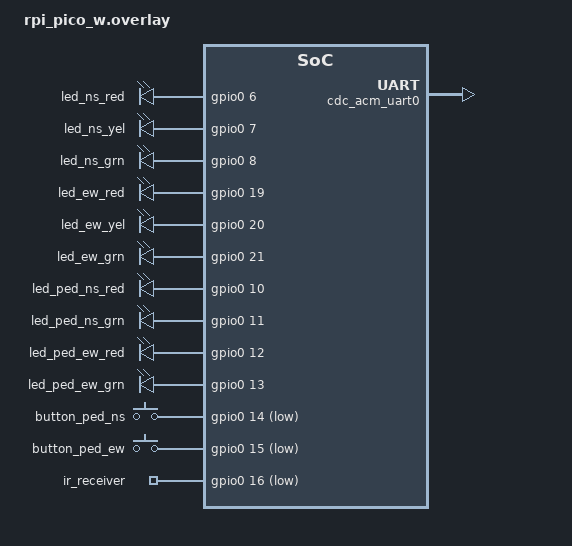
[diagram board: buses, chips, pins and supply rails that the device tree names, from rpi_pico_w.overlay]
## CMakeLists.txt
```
cmake_minimum_required(VERSION 3.20.0)
find_package(Zephyr REQUIRED HINTS $ENV{ZEPHYR_BASE})
project(intersectie_rtos)

target_sources(app PRIVATE src/main.c src/cars_lights_control.c src/pedestrians_lights.c src/emergency.c src/hazard.c src/wifi_manager.c  src/mqtt_manager.c src/telemetry.c)
```

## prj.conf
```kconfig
# Configurare Retea de baza (TCP/IPv4)
CONFIG_NETWORKING=y
CONFIG_NET_IPV4=y
CONFIG_NET_TCP=y
CONFIG_NET_UDP=y

# DHCP si DNS (Esentiale pentru internet)
CONFIG_NET_DHCPV4=y
CONFIG_DNS_RESOLVER=y

# Activare Wi-Fi pentru Raspberry Pi Pico W
CONFIG_WIFI=y
CONFIG_NET_L2_WIFI_MGMT=y
CONFIG_NET_MGMT_EVENT=y

# Activare Biblioteca MQTT oficiala Zephyr
CONFIG_MQTT_LIB=y

# Memorie suplimentara pentru functiile de retea
CONFIG_MAIN_STACK_SIZE=4096
CONFIG_SYSTEM_WORKQUEUE_STACK_SIZE=2048
CONFIG_NET_TX_STACK_SIZE=2048
CONFIG_NET_RX_STACK_SIZE=2048

# Generare numere aleatoare (Necesar pentru securitate retea si DHCP)
CONFIG_ENTROPY_GENERATOR=y
CONFIG_TEST_RANDOM_GENERATOR=y

# Activare mesaje in Consola Seriala
CONFIG_PRINTK=y
CONFIG_LOG=y
CONFIG_LOG_DEFAULT_LEVEL=3


CONFIG_USB_DEVICE_STACK=y
CONFIG_SERIAL=y
CONFIG_CONSOLE=y
CONFIG_UART_CONSOLE=y
CONFIG_UART_LINE_CTRL=y

CONFIG_THREAD_ANALYZER=y
CONFIG_THREAD_ANALYZER_AUTO=y
CONFIG_THREAD_ANALYZER_AUTO_INTERVAL=10
CONFIG_THREAD_NAME=y

CONFIG_LOG_BUFFER_SIZE=4096
```

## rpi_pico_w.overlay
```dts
/ {
    aliases {
        /* Semafoare Auto */
        led-ns-red = &led_ns_red;
        led-ns-yel = &led_ns_yel;
        led-ns-grn = &led_ns_grn;
        led-ew-red = &led_ew_red;
        led-ew-yel = &led_ew_yel;
        led-ew-grn = &led_ew_grn;

        /* Semafoare Pietoni */
        led-ped-ns-red = &led_ped_ns_red;
        led-ped-ns-grn = &led_ped_ns_grn;
        led-ped-ew-red = &led_ped_ew_red;
        led-ped-ew-grn = &led_ped_ew_grn;

        /* Butoane Pietoni */
        sw-ped-ns = &button_ped_ns;
        sw-ped-ew = &button_ped_ew;

        ir-sensor = &ir_receiver;
    };

    leds {
        compatible = "gpio-leds";
        
        /* Auto (ACTIVE_HIGH direct pe module) */
        led_ns_red: led_ns_red { gpios = <&gpio0 6 GPIO_ACTIVE_HIGH>; };
        led_ns_yel: led_ns_yel { gpios = <&gpio0 7 GPIO_ACTIVE_HIGH>; };
        led_ns_grn: led_ns_grn { gpios = <&gpio0 8 GPIO_ACTIVE_HIGH>; };
        
        led_ew_red: led_ew_red { gpios = <&gpio0 19 GPIO_ACTIVE_HIGH>; };
        led_ew_yel: led_ew_yel { gpios = <&gpio0 20 GPIO_ACTIVE_HIGH>; };
        led_ew_grn: led_ew_grn { gpios = <&gpio0 21 GPIO_ACTIVE_HIGH>; };

        /* Pietoni (ACTIVE_HIGH pentru ca trec prin tranzistorul NPN) */
        led_ped_ns_red: led_ped_ns_red { gpios = <&gpio0 10 GPIO_ACTIVE_HIGH>; };
        led_ped_ns_grn: led_ped_ns_grn { gpios = <&gpio0 11 GPIO_ACTIVE_HIGH>; };
        
        led_ped_ew_red: led_ped_ew_red { gpios = <&gpio0 12 GPIO_ACTIVE_HIGH>; };
        led_ped_ew_grn: led_ped_ew_grn { gpios = <&gpio0 13 GPIO_ACTIVE_HIGH>; };
    };

    buttons {
        compatible = "gpio-keys";
        
        /* Butoane pietoni: PULL_UP intern activat, contactul cu GND inseamna apasare (ACTIVE_LOW) */
        
        button_ped_ns: button_ped_ns {  gpios = <&gpio0 14 (GPIO_PULL_UP | GPIO_ACTIVE_LOW)>; };
        button_ped_ew: button_ped_ew {  gpios = <&gpio0 15 (GPIO_PULL_UP | GPIO_ACTIVE_LOW)>;};

        ir_receiver: ir_receiver { gpios = <&gpio0 16 (GPIO_PULL_UP | GPIO_ACTIVE_LOW)>; };
    };
};

/ {
    chosen {
        zephyr,console = &cdc_acm_uart0;
    };
};

&zephyr_udc0 {
    cdc_acm_uart0: cdc_acm_uart0 {
        compatible = "zephyr,cdc-acm-uart";
    };
};
```

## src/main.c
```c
#include <zephyr/kernel.h>

#include <zephyr/usb/usb_device.h>
#include <zephyr/logging/log.h>

#include "cars_lights_control.h"
#include "pedestrians_lights.h"
#include "emergency.h"
#include "wifi_manager.h"
#include "mqtt_manager.h"

int main(void) {
    usb_enable(NULL);
    
    k_msleep(3000); 

    init_wifi();
    init_traffic_auto();
    init_traffic_pedestrians();
    init_emergency();

    return 0;
}
```

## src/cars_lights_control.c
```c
#include <zephyr/kernel.h>
#include <zephyr/drivers/gpio.h>
#include <zephyr/logging/log.h>
#include "cars_lights_control.h"
#include "pedestrians_lights.h"
#include "hazard.h"

LOG_MODULE_REGISTER(cars_lights_control, LOG_LEVEL_INF);

#define MIN_GREEN_TIME   5000 // cars minim green time
#define MAX_GREEN_TIME   10000 // cars max green time
#define CLEARANCE_TIME   2000 //cars clearance time
#define YELLOW_TIME      2000 // time for yellow light
#define FULL_RED_TIME     1000 // time for both directions red 

// Cars traffic light GPIO configuration
static const struct gpio_dt_spec ns_red = GPIO_DT_SPEC_GET(DT_ALIAS(led_ns_red), gpios);
static const struct gpio_dt_spec ns_yel = GPIO_DT_SPEC_GET(DT_ALIAS(led_ns_yel), gpios);
static const struct gpio_dt_spec ns_grn = GPIO_DT_SPEC_GET(DT_ALIAS(led_ns_grn), gpios);
static const struct gpio_dt_spec ew_red = GPIO_DT_SPEC_GET(DT_ALIAS(led_ew_red), gpios);
static const struct gpio_dt_spec ew_yel = GPIO_DT_SPEC_GET(DT_ALIAS(led_ew_yel), gpios);
static const struct gpio_dt_spec ew_grn = GPIO_DT_SPEC_GET(DT_ALIAS(led_ew_grn), gpios);

// Thread data for car traffic control
static K_THREAD_STACK_DEFINE(car_traffic_stack, 1024);
static struct k_thread car_traffic_thread_data;
static k_tid_t car_traffic_tid = NULL;


void init_traffic_auto(void) {
    gpio_pin_configure_dt(&ns_red, GPIO_OUTPUT_INACTIVE | GPIO_INPUT);
    gpio_pin_configure_dt(&ns_yel, GPIO_OUTPUT_INACTIVE | GPIO_INPUT);
    gpio_pin_configure_dt(&ns_grn, GPIO_OUTPUT_INACTIVE | GPIO_INPUT);
    
    gpio_pin_configure_dt(&ew_red, GPIO_OUTPUT_INACTIVE | GPIO_INPUT);
    gpio_pin_configure_dt(&ew_yel, GPIO_OUTPUT_INACTIVE | GPIO_INPUT);
    gpio_pin_configure_dt(&ew_grn, GPIO_OUTPUT_INACTIVE | GPIO_INPUT);
    
    restart_car_traffic_thread();
}


// cars thread function - Priority 5
void car_traffic_thread_fn(void *arg1, void *arg2, void *arg3) {
    // safety red light on at start and after hazard mode
    force_auto_red();
    if (!hazard_mode_active) {
        force_ped_red();
        k_msleep(FULL_RED_TIME);
    }

    while (1) {
        if (hazard_mode_active) {
            force_ped_off(); 
            gpio_pin_set_dt(&ns_red, 0); gpio_pin_set_dt(&ew_red, 0);
            gpio_pin_set_dt(&ns_yel, 1); gpio_pin_set_dt(&ew_yel, 1);
            k_msleep(500);
            gpio_pin_set_dt(&ns_yel, 0); gpio_pin_set_dt(&ew_yel, 0);
            k_msleep(500);
            continue; 
        }

        gpio_pin_set_dt(&ns_red, 0); gpio_pin_set_dt(&ns_grn, 1);

        bool ns_crossed = false;
        if (get_ns_ped_request() && is_ns_cooldown_passed()) {
            set_ped_ns_green(true); 
            ns_crossed = true;
        }

        k_msleep(MIN_GREEN_TIME);
        k_sem_take(&ped_ew_sem, K_MSEC(MAX_GREEN_TIME - MIN_GREEN_TIME));

        if (ns_crossed) {
            extern uint32_t timp_apasare_buton;
            uint32_t timp_procesare = k_cycle_get_32();
            uint32_t latenta_cicluri = timp_procesare - timp_apasare_buton;
            uint32_t latenta_us = k_cyc_to_us_ceil32(latenta_cicluri);
            LOG_INF("Latență RTOS: %u microsecunde de la apăsare la procesare!", latenta_us);

            blink_ped_ns_green();
            blink_ped_ns_green();
            clear_ns_ped_request();
            k_sem_reset(&ped_ns_sem); 
            update_ns_cooldown();
            k_msleep(CLEARANCE_TIME); 
        }

        gpio_pin_set_dt(&ns_grn, 0); gpio_pin_set_dt(&ns_yel, 1);
        k_msleep(YELLOW_TIME);
        gpio_pin_set_dt(&ns_yel, 0); gpio_pin_set_dt(&ns_red, 1);
        k_msleep(FULL_RED_TIME
    );

        gpio_pin_set_dt(&ew_red, 0); gpio_pin_set_dt(&ew_grn, 1);

        bool ew_crossed = false;
        if (get_ew_ped_request() && is_ew_cooldown_passed()) {
            set_ped_ew_green(true);
            ew_crossed = true;
        }

        k_msleep(MIN_GREEN_TIME);
        k_sem_take(&ped_ns_sem, K_MSEC(MAX_GREEN_TIME - MIN_GREEN_TIME));

        if (ew_crossed) {
            blink_ped_ew_green();
            clear_ew_ped_request();
            k_sem_reset(&ped_ew_sem); 
            update_ew_cooldown();
            k_msleep(CLEARANCE_TIME);
        }

        gpio_pin_set_dt(&ew_grn, 0); gpio_pin_set_dt(&ew_yel, 1);
        k_msleep(YELLOW_TIME);
        gpio_pin_set_dt(&ew_yel, 0); gpio_pin_set_dt(&ew_red, 1);
        k_msleep(FULL_RED_TIME
    );
    }
}

void restart_car_traffic_thread(void) {
    if (car_traffic_tid != NULL) {
        k_thread_abort(car_traffic_tid);
    }
    car_traffic_tid = k_thread_create(&car_traffic_thread_data, car_traffic_stack,
                                      K_THREAD_STACK_SIZEOF(car_traffic_stack),
                                      car_traffic_thread_fn, NULL, NULL, NULL,
                                      5, 0, K_NO_WAIT);
}


void stop_car_traffic_thread(void) {
    if (car_traffic_tid != NULL) {
        k_thread_abort(car_traffic_tid);
    }
}

void force_auto_red(void) {

    gpio_pin_set_dt(&ns_grn, 0); gpio_pin_set_dt(&ns_yel, 0); gpio_pin_set_dt(&ns_red, 0);
    gpio_pin_set_dt(&ew_grn, 0); gpio_pin_set_dt(&ew_yel, 0); gpio_pin_set_dt(&ew_red, 0);
    

    k_msleep(50); 
    gpio_pin_set_dt(&ns_red, 1);
    gpio_pin_set_dt(&ew_red, 1);
}

void force_cars_ns_green_ew_red(void) {

    gpio_pin_set_dt(&ns_red, 0); gpio_pin_set_dt(&ns_yel, 0); gpio_pin_set_dt(&ns_grn, 1);
    gpio_pin_set_dt(&ew_grn, 0); gpio_pin_set_dt(&ew_yel, 0); gpio_pin_set_dt(&ew_red, 1);
}

void force_cars_ew_green_ns_red(void) {
    /* Est-Vest are Verde, Nord-Sud are Rosu */
    gpio_pin_set_dt(&ew_red, 0); gpio_pin_set_dt(&ew_yel, 0); gpio_pin_set_dt(&ew_grn, 1);
    gpio_pin_set_dt(&ns_grn, 0); gpio_pin_set_dt(&ns_yel, 0); gpio_pin_set_dt(&ns_red, 1);
}

char get_auto_ns_color(void) {
    if (gpio_pin_get_dt(&ns_grn) == 1) return 'G';
    if (gpio_pin_get_dt(&ns_yel) == 1) return 'Y';
    if (gpio_pin_get_dt(&ns_red) == 1) return 'R';
    return 'O'; 
}

char get_auto_ew_color(void) {
    if (gpio_pin_get_dt(&ew_grn) == 1) return 'G';
    if (gpio_pin_get_dt(&ew_yel) == 1) return 'Y';
    if (gpio_pin_get_dt(&ew_red) == 1) return 'R';
    return 'O';
}
```

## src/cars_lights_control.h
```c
#ifndef CARS_LIGHTS_CONTROL_H
#define CARS_LIGHTS_CONTROL_H

#include <zephyr/kernel.h>

void init_traffic_auto(void); // traffic pin configuration + cars thread start
void force_auto_red(void); // all car lights red, used for reset and hazard mode
void restart_car_traffic_thread(void); // start/restart the thread that controls the traffic lights
void stop_car_traffic_thread(void); // thread stop

void force_cars_ns_green_ew_red(void);
void force_cars_ew_green_ns_red(void);

char get_auto_ns_color(void);
char get_auto_ew_color(void);

#endif
```

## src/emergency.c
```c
#include <zephyr/kernel.h>
#include <zephyr/logging/log.h>
#include "emergency.h"
#include "cars_lights_control.h"
#include "pedestrians_lights.h"

LOG_MODULE_REGISTER(emergency, LOG_LEVEL_INF);

K_SEM_DEFINE(emergency_sem, 0, 1);

static volatile emergency_type_t current_emerg_type = EMERG_ALL_RED;
static volatile bool emergency_active = false;

static volatile bool has_pending_emergency = false;
static volatile emergency_type_t pending_emerg_type;

void trigger_emergency(emergency_type_t type) {
    if (emergency_active) {
        LOG_WRN("O urgență este deja activă! Programăm direcția nouă pentru mai târziu.");
        has_pending_emergency = true;
        pending_emerg_type = type;
    } else {
        emergency_active = true;
        current_emerg_type = type;
        k_sem_give(&emergency_sem);
    }
}

void emergency_thread_fn(void *arg1, void *arg2, void *arg3) {
    while (1) {
        k_sem_take(&emergency_sem, K_FOREVER);

        stop_car_traffic_thread();
        
        while (1) {
            force_ped_red();

            if (current_emerg_type == EMERG_NS) {
                LOG_INF(">>> VERDE FORȚAT PE NORD-SUD (10 SECUNDE) <<<");
                force_cars_ns_green_ew_red();
            } 
            else if (current_emerg_type == EMERG_EW) {
                LOG_INF(">>> VERDE FORȚAT PE EST-VEST (10 SECUNDE) <<<");
                force_cars_ew_green_ns_red();
            } 
            else {
                force_auto_red();
            }

            k_msleep(10000);

            if (has_pending_emergency) {
                LOG_INF("Trecem direct la urgenta din așteptare!");
                current_emerg_type = pending_emerg_type; 
                has_pending_emergency = false;           
            } else {
                break;
            }
        }

        k_sem_reset(&emergency_sem);
        

        emergency_active = false;

        LOG_INF("Toate urgențele s-au încheiat. Reluăm ciclul normal.");
        restart_car_traffic_thread();
    }
}

K_THREAD_DEFINE(emergency_id, 1024, emergency_thread_fn, NULL, NULL, NULL, 1, 0, 0);

void init_emergency(void) {

}
```

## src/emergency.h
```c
#ifndef EMERGENCY_H
#define EMERGENCY_H

typedef enum {
    EMERG_ALL_RED, 
    EMERG_NS,      
    EMERG_EW       
} emergency_type_t;

void init_emergency(void);
void trigger_emergency(emergency_type_t type);

#endif
```

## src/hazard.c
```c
#include <zephyr/kernel.h>
#include <zephyr/drivers/gpio.h>
#include "hazard.h"
#include "cars_lights_control.h"

bool hazard_mode_active = false;

static const struct gpio_dt_spec btn_ns = GPIO_DT_SPEC_GET(DT_ALIAS(sw_ped_ns), gpios);
static const struct gpio_dt_spec btn_ew = GPIO_DT_SPEC_GET(DT_ALIAS(sw_ped_ew), gpios);


void hazard_monitor_thread_fn(void *arg1, void *arg2, void *arg3) {
    int hold_ticks = 0;
    while(1) {
        if (gpio_pin_get_dt(&btn_ns) == 1 && gpio_pin_get_dt(&btn_ew) == 1) {
            hold_ticks++;
            if (hold_ticks >= 30) { 
                hazard_mode_active = !hazard_mode_active; 
                restart_car_traffic_thread(); 
                k_msleep(3000); 
                hold_ticks = 0;
            }
        } else {
            hold_ticks = 0; 
        }
        k_msleep(100);
    }
}

K_THREAD_DEFINE(hazard_monitor_id, 1024, hazard_monitor_thread_fn, NULL, NULL, NULL, 2, 0, 0);
```

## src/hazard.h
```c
#ifndef HAZARD_H
#define HAZARD_H

#include <stdbool.h>

extern bool hazard_mode_active;

#endif
```

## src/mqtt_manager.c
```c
#include <zephyr/kernel.h>
#include <zephyr/net/socket.h>
#include <zephyr/net/mqtt.h>
#include <zephyr/logging/log.h>
#include <string.h>

#include "mqtt_manager.h"
#include "emergency.h"
#include "telemetry.h"
#include "hazard.h"
#include "wifi_manager.h"

bool is_mqtt_connected = false;
static bool mqtt_needs_reconnect = true; 

LOG_MODULE_REGISTER(mqtt_manager, LOG_LEVEL_INF);

#define BROKER_ADDR "broker.hivemq.com"
#define BROKER_PORT 1883
#define MQTT_CLIENTID "pico_simi"
#define TOPIC_STATUS "simi/intersectie/status"
#define TOPIC_COMMANDS "simi/intersectie/comenzi"

static uint8_t rx_buffer[128];
static uint8_t tx_buffer[128];
static struct mqtt_client client_ctx;
static struct sockaddr_in broker;
static struct zsock_pollfd fds[1];

static int publish(struct mqtt_client *client, const char *topic, const char *payload) {
    struct mqtt_publish_param param;
    param.message.topic.topic.utf8 = (uint8_t *)topic;
    param.message.topic.topic.size = strlen(topic);
    param.message.payload.data = (uint8_t *)payload;
    param.message.payload.len = strlen(payload);
    param.message.topic.qos = MQTT_QOS_0_AT_MOST_ONCE;
    param.message_id = 1;
    return mqtt_publish(client, &param);
}

static void mqtt_evt_handler(struct mqtt_client *const client, const struct mqtt_evt *evt) {
    switch (evt->type) {
        case MQTT_EVT_CONNACK:
            if (evt->result == 0) {
                LOG_INF("Conectat la Broker cu succes!");
                is_mqtt_connected = true;
                
                struct mqtt_topic topic = { .topic.utf8 = (uint8_t *)TOPIC_COMMANDS, .topic.size = strlen(TOPIC_COMMANDS) };
                struct mqtt_subscription_list sub_list = { .list = &topic, .list_count = 1, .message_id = 1 };
                mqtt_subscribe(client, &sub_list);
                
                publish(client, TOPIC_STATUS, "Intersectie: Online");
            } else {
                LOG_ERR("Conexiune refuzata de broker (cod: %d)", evt->result);
                mqtt_needs_reconnect = true;
            }
            break;
            
        case MQTT_EVT_DISCONNECT:
            LOG_ERR("Deconectat de la broker!");
            is_mqtt_connected = false;
            mqtt_needs_reconnect = true;
            break;

        case MQTT_EVT_PUBLISH: {
            const struct mqtt_publish_param *pub = &evt->param.publish;
            char payload[32] = {0}; 
            int len = pub->message.payload.len;

            if (len < sizeof(payload)) {
                mqtt_read_publish_payload(client, payload, len);
                
                if (pub->retain_flag == 1) {
                    LOG_WRN("Comandă fantomă ștearsă (Mesaj vechi ignorat): %s", payload);
                    break; 
                }

                LOG_INF("Comanda LIVE primita: %s", payload);

                if (strncmp(payload, "URGENTA_NS", 10) == 0) {
                    trigger_emergency(EMERG_NS);
                } 
                else if (strncmp(payload, "URGENTA_EW", 10) == 0) {
                    trigger_emergency(EMERG_EW);
                }
                else if (strncmp(payload, "HAZARD", 6) == 0) {
                    hazard_mode_active = !hazard_mode_active;
                    if (hazard_mode_active) {
                        clear_pedestrian_requests();
                    } else {
                        force_auto_red(); 
                        restart_car_traffic_thread();
                    }
                }
            } else {
                mqtt_read_publish_payload(client, payload, 0); 
            }
            break;
        }
        default:
            break;
    }
}

#define MQTT_STACK_SIZE 4096
#define MQTT_PRIORITY 7
K_THREAD_STACK_DEFINE(mqtt_stack_area, MQTT_STACK_SIZE);
struct k_thread mqtt_thread_data;

static void mqtt_thread_fn(void *p1, void *p2, void *p3) {
    int rc;
    struct zsock_addrinfo *res;
    struct zsock_addrinfo hints = {
        .ai_family = AF_INET,
        .ai_socktype = SOCK_STREAM,
    };

    while (1) {
        if (mqtt_needs_reconnect) {
            LOG_WRN("Se curata memoria si se pregateste o noua conexiune MQTT...");
            mqtt_needs_reconnect = false; 
            is_mqtt_connected = false;

            mqtt_abort(&client_ctx);
            k_msleep(500);
            memset(&client_ctx, 0, sizeof(client_ctx)); 

            rc = zsock_getaddrinfo(BROKER_ADDR, "1883", &hints, &res);
            if (rc != 0) {
                LOG_ERR("Eroare DNS. Reincercam in 5 secunde...");
                wifi_force_reconnect();
                mqtt_needs_reconnect = true;
                k_msleep(5000);
                continue; 
            }

            broker.sin_family = AF_INET;
            broker.sin_port = htons(BROKER_PORT);
            broker.sin_addr = ((struct sockaddr_in *)res->ai_addr)->sin_addr;
            zsock_freeaddrinfo(res);

            mqtt_client_init(&client_ctx);
            client_ctx.broker = &broker;
            client_ctx.evt_cb = mqtt_evt_handler;
            client_ctx.client_id.utf8 = (uint8_t *)MQTT_CLIENTID;
            client_ctx.client_id.size = strlen(MQTT_CLIENTID);
            client_ctx.password = NULL;
            client_ctx.user_name = NULL;
            client_ctx.protocol_version = MQTT_VERSION_3_1_1;
            client_ctx.rx_buf = rx_buffer;
            client_ctx.rx_buf_size = sizeof(rx_buffer);
            client_ctx.tx_buf = tx_buffer;
            client_ctx.tx_buf_size = sizeof(tx_buffer);

            rc = mqtt_connect(&client_ctx);
            if (rc != 0) {
                LOG_ERR("mqtt_connect a esuat: %d. Reincercam in 5s...", rc);
                wifi_force_reconnect();
                mqtt_needs_reconnect = true;
                k_msleep(5000);
                continue;
            }
        }

        if (client_ctx.transport.tcp.sock < 0) {
            k_msleep(100);
            continue;
        }

        fds[0].fd = client_ctx.transport.tcp.sock;
        fds[0].events = ZSOCK_POLLIN;

        rc = zsock_poll(fds, 1, 500);
        if (rc > 0) {
            if (fds[0].revents & (ZSOCK_POLLERR | ZSOCK_POLLHUP)) {
                LOG_ERR("Socket inchis / Eroare TCP!");
                mqtt_needs_reconnect = true;
                continue;
            }
            
            int input_rc = mqtt_input(&client_ctx);
            if (input_rc < 0) {
                LOG_ERR("Eroare la procesare mesaje: %d", input_rc);
                mqtt_needs_reconnect = true;
                continue;
            }
        } else if (rc < 0) {
            LOG_ERR("Eroare zsock_poll: %d", rc);
            mqtt_needs_reconnect = true;
            continue;
        }

        if (is_mqtt_connected) {
            int live_rc = mqtt_live(&client_ctx);
            if (live_rc < 0 && live_rc != -EAGAIN) {
                LOG_ERR("Conexiune moarta (Ping esuat)!");
                mqtt_needs_reconnect = true;
                continue;
            }
        }

        k_msleep(100);
    }
}

void init_mqtt(void) {
    k_thread_create(&mqtt_thread_data, mqtt_stack_area,
                    K_THREAD_STACK_SIZEOF(mqtt_stack_area),
                    mqtt_thread_fn, NULL, NULL, NULL,
                    MQTT_PRIORITY, 0, K_NO_WAIT);
}

int mqtt_publish_to_topic(const char *topic, const char *payload) {
    if (!is_mqtt_connected) return -ENOTCONN;
    return publish(&client_ctx, topic, payload);
}

void mqtt_reconnect(void) {
    LOG_WRN("Semnal de la Wi-Fi primit. Declanșăm procedura de reconectare MQTT!");
    mqtt_needs_reconnect = true;
}
```

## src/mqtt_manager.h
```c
#ifndef MQTT_MANAGER_H
#define MQTT_MANAGER_H

#include <stdbool.h> 

void init_mqtt(void);

int mqtt_publish_to_topic(const char *topic, const char *payload);
void mqtt_reconnect(void);

extern bool is_mqtt_connected;
#endif
```

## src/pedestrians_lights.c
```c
#include <zephyr/kernel.h>
#include <zephyr/drivers/gpio.h>
#include "pedestrians_lights.h"
#include "cars_lights_control.h"
#include "hazard.h"

#define COOLDOWN_TIME 15000 

K_SEM_DEFINE(ped_ns_sem, 0, 1);
K_SEM_DEFINE(ped_ew_sem, 0, 1);

static const struct gpio_dt_spec ped_ns_red = GPIO_DT_SPEC_GET(DT_ALIAS(led_ped_ns_red), gpios);
static const struct gpio_dt_spec ped_ns_grn = GPIO_DT_SPEC_GET(DT_ALIAS(led_ped_ns_grn), gpios);
static const struct gpio_dt_spec ped_ew_red = GPIO_DT_SPEC_GET(DT_ALIAS(led_ped_ew_red), gpios);
static const struct gpio_dt_spec ped_ew_grn = GPIO_DT_SPEC_GET(DT_ALIAS(led_ped_ew_grn), gpios);

static const struct gpio_dt_spec btn_ns = GPIO_DT_SPEC_GET(DT_ALIAS(sw_ped_ns), gpios);
static const struct gpio_dt_spec btn_ew = GPIO_DT_SPEC_GET(DT_ALIAS(sw_ped_ew), gpios);
static struct gpio_callback btn_ns_cb_data;
static struct gpio_callback btn_ew_cb_data;

bool ns_ped_request = false;
bool ew_ped_request = false;
int64_t last_ns_time = -15000; 
int64_t last_ew_time = -15000;

uint32_t timp_apasare_buton = 0;

void button_ns_pressed(const struct device *dev, struct gpio_callback *cb, uint32_t pins) {
    timp_apasare_buton = k_cycle_get_32();
    if (!hazard_mode_active) {
        ns_ped_request = true; 
        if (is_ns_cooldown_passed()) {
            k_sem_give(&ped_ns_sem); 
        }
    }
}

void button_ew_pressed(const struct device *dev, struct gpio_callback *cb, uint32_t pins) {
    if (!hazard_mode_active) {
        ew_ped_request = true;
        if (is_ew_cooldown_passed()) {
            k_sem_give(&ped_ew_sem);
        }
    }
}

bool is_ns_cooldown_passed(void) {
    return (k_uptime_get() - last_ns_time >= COOLDOWN_TIME);
}

bool is_ew_cooldown_passed(void) {
    return (k_uptime_get() - last_ew_time >= COOLDOWN_TIME);
}


void init_traffic_pedestrians(void) {
    gpio_pin_configure_dt(&ped_ns_red, GPIO_OUTPUT_INACTIVE | GPIO_INPUT);
    gpio_pin_configure_dt(&ped_ns_grn, GPIO_OUTPUT_INACTIVE | GPIO_INPUT);
    gpio_pin_configure_dt(&ped_ew_red, GPIO_OUTPUT_INACTIVE | GPIO_INPUT);
    gpio_pin_configure_dt(&ped_ew_grn, GPIO_OUTPUT_INACTIVE | GPIO_INPUT);

    gpio_pin_configure_dt(&btn_ns, GPIO_INPUT | GPIO_PULL_UP);
    gpio_pin_interrupt_configure_dt(&btn_ns, GPIO_INT_EDGE_TO_ACTIVE);
    gpio_init_callback(&btn_ns_cb_data, button_ns_pressed, BIT(btn_ns.pin));
    gpio_add_callback(btn_ns.port, &btn_ns_cb_data);

    gpio_pin_configure_dt(&btn_ew, GPIO_INPUT | GPIO_PULL_UP);
    gpio_pin_interrupt_configure_dt(&btn_ew, GPIO_INT_EDGE_TO_ACTIVE);
    gpio_init_callback(&btn_ew_cb_data, button_ew_pressed, BIT(btn_ew.pin));
    gpio_add_callback(btn_ew.port, &btn_ew_cb_data);
}

bool get_ns_ped_request(void) { return ns_ped_request; }
bool get_ew_ped_request(void) { return ew_ped_request; }
void clear_ns_ped_request(void) { ns_ped_request = false; }
void clear_ew_ped_request(void) { ew_ped_request = false; }
void update_ns_cooldown(void) { last_ns_time = k_uptime_get(); }
void update_ew_cooldown(void) { last_ew_time = k_uptime_get(); }

void set_ped_ns_green(bool green) {
    gpio_pin_set_dt(&ped_ns_red, !green);
    gpio_pin_set_dt(&ped_ns_grn, green);
}
void set_ped_ew_green(bool green) {
    gpio_pin_set_dt(&ped_ew_red, !green);
    gpio_pin_set_dt(&ped_ew_grn, green);
}
void force_ped_red(void) {
    set_ped_ns_green(false);
    set_ped_ew_green(false);
}
void force_ped_off(void) {
    gpio_pin_set_dt(&ped_ns_red, 0); gpio_pin_set_dt(&ped_ns_grn, 0);
    gpio_pin_set_dt(&ped_ew_red, 0); gpio_pin_set_dt(&ped_ew_grn, 0);
}
void blink_ped_ns_green(void) {
    gpio_pin_set_dt(&ped_ns_red, 0); 
    for (int i = 0; i < 6; i++) {
        gpio_pin_set_dt(&ped_ns_grn, 0); k_msleep(250);
        gpio_pin_set_dt(&ped_ns_grn, 1); k_msleep(250);
    }
    gpio_pin_set_dt(&ped_ns_grn, 0); gpio_pin_set_dt(&ped_ns_red, 1);
}
void blink_ped_ew_green(void) {
    gpio_pin_set_dt(&ped_ew_red, 0); 
    for (int i = 0; i < 6; i++) {
        gpio_pin_set_dt(&ped_ew_grn, 0); k_msleep(250);
        gpio_pin_set_dt(&ped_ew_grn, 1); k_msleep(250);
    }
    gpio_pin_set_dt(&ped_ew_grn, 0); gpio_pin_set_dt(&ped_ew_red, 1);
}



char get_ped_ns_color(void) {
    if (gpio_pin_get_dt(&ped_ns_grn) == 1) return 'G'; 
    if (gpio_pin_get_dt(&ped_ns_red) == 1) return 'R';
    return 'O';
}

char get_ped_ew_color(void) {
    if (gpio_pin_get_dt(&ped_ew_grn) == 1) return 'G';
    if (gpio_pin_get_dt(&ped_ew_red) == 1) return 'R';
    return 'O';
}

void clear_pedestrian_requests(void) {

    ns_ped_request = false;  
    ew_ped_request = false;  
    
}
```

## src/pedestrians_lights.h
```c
#ifndef PEDESTRIANS_LIGHTS_H
#define PEDESTRIANS_LIGHTS_H

// pedestrian request semaphores
extern struct k_sem ped_ns_sem;
extern struct k_sem ped_ew_sem;

void init_traffic_pedestrians(void);

// pedestrian light control functions
void set_ped_ns_green(bool is_green);
void set_ped_ew_green(bool is_green);

//blink after pedestrian green
void blink_ped_ns_green(void);
void blink_ped_ew_green(void);

//force red for all pedestrians
void force_ped_red(void);

//check cooldown timers
bool is_ns_cooldown_passed(void);
bool is_ew_cooldown_passed(void);

void force_ped_off(void);
bool get_ns_ped_request(void);
bool get_ew_ped_request(void);
void clear_ns_ped_request(void);
void clear_ew_ped_request(void);
void update_ns_cooldown(void);
void update_ew_cooldown(void);

char get_ped_ns_color(void);
char get_ped_ew_color(void);

void clear_pedestrian_requests(void);

#endif 
```

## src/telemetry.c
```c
#include <zephyr/kernel.h>
#include <stdio.h>
#include "telemetry.h"
#include "cars_lights_control.h"
#include "pedestrians_lights.h"
#include "mqtt_manager.h" 

void telemetry_thread_fn(void *arg1, void *arg2, void *arg3) {
    char payload[128];
    
    while (1) {
        k_msleep(500);

        if (!is_mqtt_connected) {
            continue; 
        }

        snprintf(payload, sizeof(payload),
            "A_NS:%c,A_EW:%c,P_NS:%c,P_EW:%c,REQ_NS:%d,REQ_EW:%d",
            get_auto_ns_color(), get_auto_ew_color(),
            get_ped_ns_color(), get_ped_ew_color(),
            get_ns_ped_request() ? 1 : 0,
            get_ew_ped_request() ? 1 : 0
        );

        mqtt_publish_to_topic("simi/intersectie/live", payload);
    }
}

K_THREAD_DEFINE(telemetry_tid, 4096, telemetry_thread_fn, NULL, NULL, NULL, 7, 0, 0);
```

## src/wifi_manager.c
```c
#include <zephyr/kernel.h>
#include <zephyr/net/net_if.h>
#include <zephyr/net/wifi_mgmt.h>
#include <zephyr/net/net_event.h>
#include <zephyr/logging/log.h>
#include "wifi_manager.h"
#include "mqtt_manager.h"

LOG_MODULE_REGISTER(wifi_manager, LOG_LEVEL_INF);

#define WIFI_SSID "simi"
#define WIFI_PSK "12345679"

static struct net_mgmt_event_callback wifi_cb;
static struct net_mgmt_event_callback ipv4_cb;
static struct k_work_delayable wifi_reconnect_work;

static bool mqtt_started = false;

static void connect_to_wifi(void) {
    struct net_if *iface = net_if_get_default();
    struct wifi_connect_req_params wifi_params = {
        .ssid = WIFI_SSID,
        .ssid_length = strlen(WIFI_SSID),
        .psk = WIFI_PSK,
        .psk_length = strlen(WIFI_PSK),
        .security = WIFI_SECURITY_TYPE_PSK,
        .channel = WIFI_CHANNEL_ANY
    };

    LOG_INF("Cautam reteaua Wi-Fi...");
    
    int ret = net_mgmt(NET_REQUEST_WIFI_CONNECT, iface, &wifi_params, sizeof(wifi_params));
    
    if (ret < 0) {
        LOG_ERR("Reteaua nu a fost gasita fizic (eroare %d). Reincercam in 5s...", ret);
        k_work_reschedule(&wifi_reconnect_work, K_SECONDS(5));
    }
}

static void wifi_reconnect_fn(struct k_work *work) {
    connect_to_wifi();
}

static void net_mgmt_event_handler(struct net_mgmt_event_callback *cb,
                                   uint64_t mgmt_event, struct net_if *iface) {
    
    if (mgmt_event == NET_EVENT_WIFI_CONNECT_RESULT) {
        const struct wifi_status *status = (const struct wifi_status *)cb->info;
        
        if (status->status) {
            LOG_ERR("Conectare Wi-Fi respinsa (status %d)! Reincercam in 5s...", status->status);
            k_work_reschedule(&wifi_reconnect_work, K_SECONDS(5));
        } else {
            LOG_INF("Conectat la Wi-Fi cu succes!");
        }
    } 
    else if (mgmt_event == NET_EVENT_WIFI_DISCONNECT_RESULT) {
        LOG_WRN("Conexiune Wi-Fi pierduta brusc! Cautam reteaua in fundal...");
        is_mqtt_connected = false; 
        k_work_reschedule(&wifi_reconnect_work, K_SECONDS(5));
    }
    else if (mgmt_event == NET_EVENT_IPV4_ADDR_ADD) {
        LOG_INF("IP obtinut prin DHCP!");
        
        if (!mqtt_started) {
            mqtt_started = true;
            init_mqtt(); 
        } else {
            mqtt_reconnect();
        }
        
    }
}

void init_wifi(void) {
    k_work_init_delayable(&wifi_reconnect_work, wifi_reconnect_fn);

    net_mgmt_init_event_callback(&wifi_cb, net_mgmt_event_handler, 
        NET_EVENT_WIFI_CONNECT_RESULT | NET_EVENT_WIFI_DISCONNECT_RESULT);
    net_mgmt_add_event_callback(&wifi_cb);
    
    net_mgmt_init_event_callback(&ipv4_cb, net_mgmt_event_handler, NET_EVENT_IPV4_ADDR_ADD);
    net_mgmt_add_event_callback(&ipv4_cb);

    connect_to_wifi();
}

void wifi_force_reconnect(void) {
    LOG_WRN("Forțăm restartarea modulului Wi-Fi...");
    struct net_if *iface = net_if_get_default();
    
    net_mgmt(NET_REQUEST_WIFI_DISCONNECT, iface, NULL, 0);
    
    k_work_reschedule(&wifi_reconnect_work, K_SECONDS(2));
}
```
